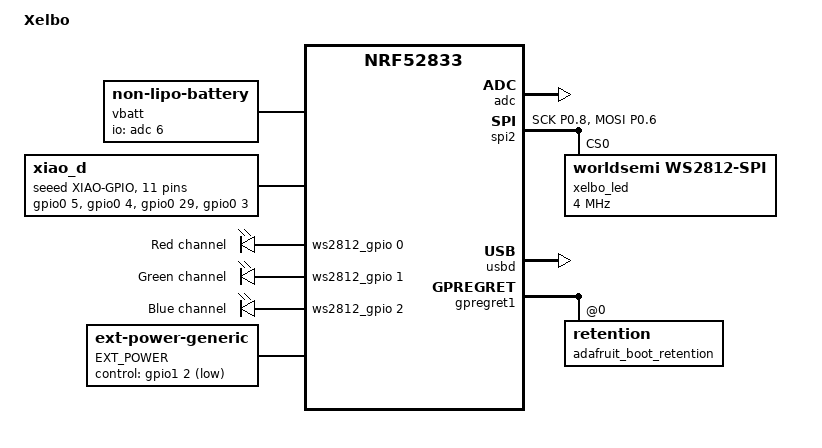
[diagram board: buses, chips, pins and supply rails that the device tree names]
/*
 * Copyright (c) 2026 sekigon-gonnoc
 *
 * SPDX-License-Identifier: MIT
 */

/dts-v1/;

#include <nordic/nrf52833_qiaa.dtsi>
#include <common/nordic/nrf52833_uf2_boot_mode.dtsi>
#include <dt-bindings/led/led.h>

/ {
	model = "Xelbo";

	chosen {
		zephyr,code-partition = &code_partition;
		zephyr,sram = &sram0;
		zephyr,flash = &flash0;
        zmk,battery = &vbatt;
	};

    vbatt: vbatt {
        compatible = "zmk,non-lipo-battery";
        io-channels = <&adc 6>; 
    };

	xiao_d: connector {
		compatible = "seeed,xiao-gpio";
		#gpio-cells = <2>;
		gpio-map-mask = <0xffffffff 0xffffffc0>;
		gpio-map-pass-thru = <0 0x3f>;
		gpio-map
			= <0 0 &gpio0 5 0>		/* D0 */
			, <1 0 &gpio0 4 0>		/* D1 */
			, <2 0 &gpio0 29 0>		/* D2 */
			, <3 0 &gpio0 3 0>		/* D3 */
			, <4 0 &gpio0 26 0>		/* D4 */
			, <5 0 &gpio0 27 0>		/* D5 */
			, <6 0 &gpio1 8 0>		/* D6 */
			, <7 0 &gpio0 14 0>		/* D7 */
			, <8 0 &gpio0 17 0>		/* D8 */
			, <9 0 &gpio0 15 0>		/* D9 */
			, <10 0 &gpio0 7 0>		/* D10 */
			;
	};

    ws2812_gpio: ws2812_gpio {
        compatible = "zmk,ws2812-gpio";
        gpio-controller;
        #gpio-cells = <2>;
		led-strip = <&xelbo_led>;
	};

	leds {
		compatible = "gpio-leds";
		led0: led_0 {
			gpios = <&ws2812_gpio 0 GPIO_ACTIVE_HIGH>;
			label = "Red channel";
		};
		led1: led_1 {
			gpios = <&ws2812_gpio 1 GPIO_ACTIVE_HIGH>;
			label = "Green channel";
		};
		led2: led_2 {
			gpios = <&ws2812_gpio 2 GPIO_ACTIVE_HIGH>;
			label = "Blue channel";
		};
	};

	EXT_POWER {
        compatible = "zmk,ext-power-generic";
        control-gpios = <&gpio1 2 GPIO_ACTIVE_LOW>;
        init-delay-ms = <50>;
    };

    magic_mapper {
        compatible = "zmk,bootmode-to-magic-mapper";
        status = "okay";

        #address-cells = <1>;
        #size-cells = <1>;

        boot_retention: retention@0 {
            compatible = "zephyr,retention";
            status = "okay";
            reg = <0x0 0x1>;
        };
    };

	aliases {
		led0 = &led0;
		led1 = &led1;
		led2 = &led2;
	};
};


&adc {
	status = "okay";
};

&gpiote {
	status = "okay";
};

&gpio0 {
	status = "okay";
};

&gpio1 {
	status = "okay";
};

&pinctrl {
	spi2_default: spi2_default {
		group1 {
			psels = <NRF_PSEL(SPIM_SCK, 0, 8)>, // Dummy clock to avoid the SPI bus from being powered down
			<NRF_PSEL(SPIM_MOSI, 0, 6)>;
		};
	};

	spi2_sleep: spi2_sleep {
		group1 {
			psels = <NRF_PSEL(SPIM_SCK, 0, 8)>, // Dummy clock to avoid the SPI bus from being powered down
			<NRF_PSEL(SPIM_MOSI, 0, 6)>;
			low-power-enable;
		};
	};
};

&spi2 {
	compatible = "nordic,nrf-spim";
	status = "okay";
	pinctrl-0 = <&spi2_default>;
	pinctrl-1 = <&spi2_sleep>;
	pinctrl-names = "default", "sleep";

	xelbo_led: ws2812@0 {
		compatible = "worldsemi,ws2812-spi";
		reg = <0>;
		spi-max-frequency = <4000000>;
		chain-length = <1>;
		spi-one-frame = <0x70>;
		spi-zero-frame = <0x40>;
		color-mapping = <LED_COLOR_ID_GREEN LED_COLOR_ID_RED LED_COLOR_ID_BLUE>;
	};
};

xiao_serial: &uart0 {
};

zephyr_udc0: &usbd {
    status = "okay";
};

&reg1 {
    regulator-initial-mode = <NRF5X_REG_MODE_DCDC>;
};

&gpregret1 {
    adafruit_boot_retention: retention@0 {
        compatible = "zephyr,retention";
        status = "okay";
        reg = <0x0 0x1>;
    };
};

&flash0 {
	/*
	 * For more information, see:
	 * http://docs.zephyrproject.org/latest/devices/dts/flash_partitions.html
	 */
	partitions {
		compatible = "fixed-partitions";
		#address-cells = <1>;
		#size-cells = <1>;

		code_partition: partition@1000 {
			label = "code_partition";
			reg = <0x00001000 0x0006b000>;
		};

		/*
		 * Storage partition will be used by FCB/LittleFS/NVS
		 * if enabled.
		 */
		storage_partition: partition@6c000 {
			label = "storage";
			reg = <0x0006c000 0x00008000>;
		};

		boot_partition: partition@74000 {
			label = "xelbo_boot";
			reg = <0x00074000 0x0000C000>;
		};
	};
};
